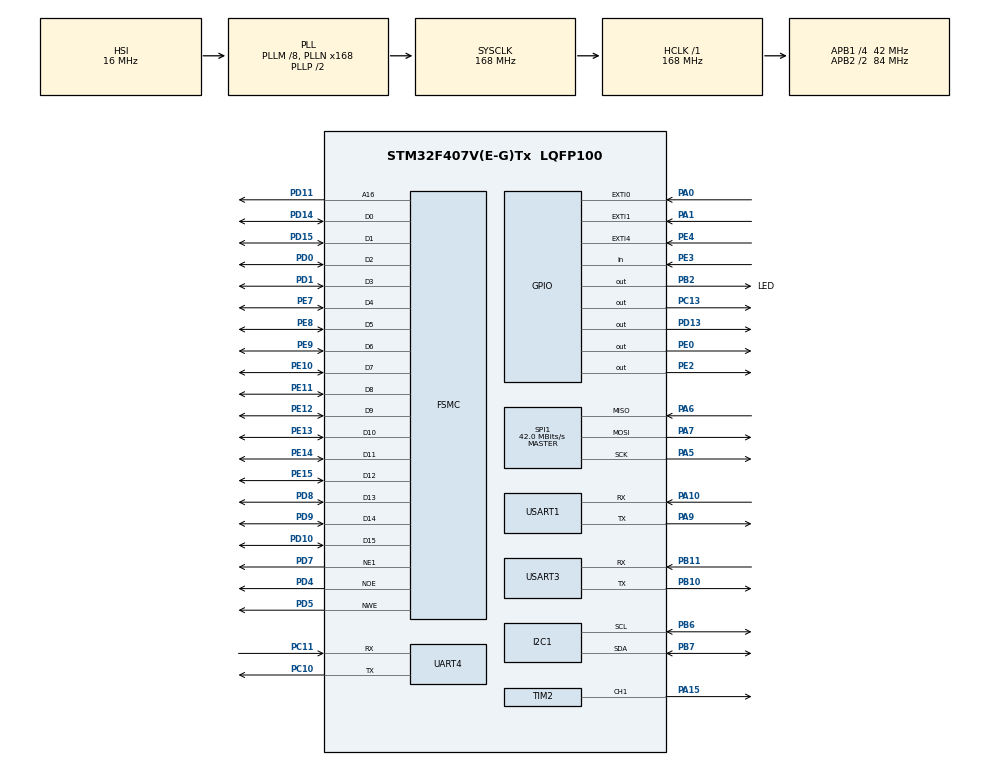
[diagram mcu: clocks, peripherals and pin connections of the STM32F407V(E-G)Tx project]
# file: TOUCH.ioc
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Dma.Request0=USART3_RX
Dma.Request1=UART4_RX
Dma.Request2=USART3_TX
Dma.Request3=UART4_TX
Dma.UART4_RX.1.Direction=DMA_PERIPH_TO_MEMORY
Dma.UART4_RX.1.FIFOMode=DMA_FIFOMODE_DISABLE
Dma.UART4_RX.1.Instance=DMA1_Stream2
Dma.UART4_RX.1.MemDataAlignment=DMA_MDATAALIGN_BYTE
Dma.UART4_RX.1.MemInc=DMA_MINC_ENABLE
Dma.UART4_RX.1.Mode=DMA_NORMAL
Dma.UART4_RX.1.PeriphDataAlignment=DMA_PDATAALIGN_BYTE
Dma.UART4_RX.1.PeriphInc=DMA_PINC_DISABLE
Dma.UART4_RX.1.Priority=DMA_PRIORITY_LOW
Dma.UART4_TX.3.Direction=DMA_MEMORY_TO_PERIPH
Dma.UART4_TX.3.FIFOMode=DMA_FIFOMODE_DISABLE
Dma.UART4_TX.3.Instance=DMA1_Stream4
Dma.UART4_TX.3.MemDataAlignment=DMA_MDATAALIGN_BYTE
Dma.UART4_TX.3.MemInc=DMA_MINC_ENABLE
Dma.UART4_TX.3.Mode=DMA_NORMAL
Dma.UART4_TX.3.PeriphDataAlignment=DMA_PDATAALIGN_BYTE
Dma.UART4_TX.3.PeriphInc=DMA_PINC_DISABLE
Dma.UART4_TX.3.Priority=DMA_PRIORITY_LOW
Dma.USART3_RX.0.Direction=DMA_PERIPH_TO_MEMORY
Dma.USART3_RX.0.FIFOMode=DMA_FIFOMODE_DISABLE
Dma.USART3_RX.0.Instance=DMA1_Stream1
Dma.USART3_RX.0.MemDataAlignment=DMA_MDATAALIGN_BYTE
Dma.USART3_RX.0.MemInc=DMA_MINC_ENABLE
Dma.USART3_RX.0.Mode=DMA_NORMAL
Dma.USART3_RX.0.PeriphDataAlignment=DMA_PDATAALIGN_BYTE
Dma.USART3_RX.0.PeriphInc=DMA_PINC_DISABLE
Dma.USART3_RX.0.Priority=DMA_PRIORITY_LOW
Dma.USART3_TX.2.Direction=DMA_MEMORY_TO_PERIPH
Dma.USART3_TX.2.FIFOMode=DMA_FIFOMODE_DISABLE
Dma.USART3_TX.2.Instance=DMA1_Stream3
Dma.USART3_TX.2.MemDataAlignment=DMA_MDATAALIGN_BYTE
Dma.USART3_TX.2.MemInc=DMA_MINC_ENABLE
Dma.USART3_TX.2.Mode=DMA_NORMAL
Dma.USART3_TX.2.PeriphDataAlignment=DMA_PDATAALIGN_BYTE
Dma.USART3_TX.2.PeriphInc=DMA_PINC_DISABLE
Dma.USART3_TX.2.Priority=DMA_PRIORITY_LOW
Mcu.Family=STM32F4
Mcu.Name=STM32F407V(E-G)Tx
Mcu.Package=LQFP100
NVIC.DMA1_Stream1_IRQn=true\:13\:0\:true\:false\:true\:false\:true\:true
NVIC.DMA1_Stream2_IRQn=true\:14\:0\:true\:false\:true\:false\:true\:true
NVIC.DMA1_Stream3_IRQn=true\:13\:0\:true\:false\:true\:false\:true\:true
NVIC.DMA1_Stream4_IRQn=true\:14\:0\:true\:false\:true\:false\:true\:true
NVIC.EXTI0_IRQn=true\:14\:0\:true\:false\:true\:true\:true\:true
NVIC.EXTI1_IRQn=true\:14\:0\:true\:false\:true\:true\:true\:true
NVIC.EXTI4_IRQn=true\:14\:0\:true\:false\:true\:true\:true\:true
NVIC.PriorityGroup=NVIC_PRIORITYGROUP_4
NVIC.UART4_IRQn=true\:14\:0\:true\:false\:true\:true\:true\:true
NVIC.USART3_IRQn=true\:13\:0\:true\:false\:true\:true\:true\:true
PA0-WKUP.GPIO_ModeDefaultEXTI=GPIO_MODE_IT_RISING
PA0-WKUP.GPIO_PuPd=GPIO_PULLUP
PA0-WKUP.Signal=GPXTI0
PA1.GPIO_ModeDefaultEXTI=GPIO_MODE_IT_FALLING
PA1.GPIO_PuPd=GPIO_PULLUP
PA1.Signal=GPXTI1
PA10.Mode=Asynchronous
PA10.Signal=USART1_RX
PA15.GPIO_ModeDefaultPP=GPIO_MODE_AF_PP
PA15.Signal=S_TIM2_CH1_ETR
PA5.Mode=Full_Duplex_Master
PA5.Signal=SPI1_SCK
PA6.Mode=Full_Duplex_Master
PA6.Signal=SPI1_MISO
PA7.Mode=Full_Duplex_Master
PA7.Signal=SPI1_MOSI
PA9.Mode=Asynchronous
PA9.Signal=USART1_TX
PB10.Mode=Asynchronous
PB10.Signal=USART3_TX
PB11.Mode=Asynchronous
PB11.Signal=USART3_RX
PB2.GPIO_Label=LED
PB2.Signal=GPIO_Output
PB6.GPIO_Pu=GPIO_PULLUP
PB6.Mode=I2C
PB6.Signal=I2C1_SCL
PB7.GPIO_Pu=GPIO_PULLUP
PB7.Mode=I2C
PB7.Signal=I2C1_SDA
PC10.Mode=Asynchronous
PC10.Signal=UART4_TX
PC11.Mode=Asynchronous
PC11.Signal=UART4_RX
PC13-ANTI_TAMP.GPIO_PuPd=GPIO_PULLUP
PC13-ANTI_TAMP.PinState=GPIO_PIN_SET
PC13-ANTI_TAMP.Signal=GPIO_Output
PD0.Mode=16b-d1
PD0.Signal=FSMC_D2
PD1.Mode=16b-d1
PD1.Signal=FSMC_D3
PD10.Mode=16b-d1
PD10.Signal=FSMC_D15
PD11.Mode=A16_1
PD11.Signal=FSMC_A16
PD13.Signal=GPIO_Output
PD14.Mode=16b-d1
PD14.Signal=FSMC_D0
PD15.Mode=16b-d1
PD15.Signal=FSMC_D1
PD4.Mode=Lcd1
PD4.Signal=FSMC_NOE
PD5.Mode=Lcd1
PD5.Signal=FSMC_NWE
PD7.Mode=NorPsramChipSelect1_1
PD7.Signal=FSMC_NE1
PD8.Mode=16b-d1
PD8.Signal=FSMC_D13
PD9.Mode=16b-d1
PD9.Signal=FSMC_D14
PE0.Signal=GPIO_Output
PE10.Mode=16b-d1
PE10.Signal=FSMC_D7
PE11.Mode=16b-d1
PE11.Signal=FSMC_D8
PE12.Mode=16b-d1
PE12.Signal=FSMC_D9
PE13.Mode=16b-d1
PE13.Signal=FSMC_D10
PE14.Mode=16b-d1
PE14.Signal=FSMC_D11
PE15.Mode=16b-d1
PE15.Signal=FSMC_D12
PE2.Signal=GPIO_Output
PE3.GPIO_PuPd=GPIO_PULLUP
PE3.Signal=GPIO_Input
PE4.GPIO_ModeDefaultEXTI=GPIO_MODE_IT_FALLING
PE4.GPIO_PuPd=GPIO_PULLUP
PE4.Signal=GPXTI4
PE7.Mode=16b-d1
PE7.Signal=FSMC_D4
PE8.Mode=16b-d1
PE8.Signal=FSMC_D5
PE9.Mode=16b-d1
PE9.Signal=FSMC_D6
PH0-OSC_IN.Mode=HSE-External-Clock-Source
PH0-OSC_IN.Signal=RCC_OSC_IN
PH1-OSC_OUT.Mode=HSE-External-Clock-Source
PH1-OSC_OUT.Signal=RCC_OSC_OUT
ProjectManager.HeapSize=0x200
ProjectManager.StackSize=0x400
ProjectManager.TargetToolchain=STM32CubeIDE
RCC.48MHZClocksFreq_Value=84000000
RCC.AHBFreq_Value=168000000
RCC.APB1CLKDivider=RCC_HCLK_DIV4
RCC.APB1Freq_Value=42000000
RCC.APB1TimFreq_Value=84000000
RCC.APB2CLKDivider=RCC_HCLK_DIV2
RCC.APB2Freq_Value=84000000
RCC.APB2TimFreq_Value=168000000
RCC.CortexFreq_Value=168000000
RCC.HCLKFreq_Value=168000000
RCC.HSE_VALUE=25000000
RCC.HSI_VALUE=16000000
RCC.LSE_VALUE=32768
RCC.PLLM=8
RCC.PLLN=168
RCC.SYSCLKFreq_VALUE=168000000
RCC.SYSCLKSource=RCC_SYSCLKSOURCE_PLLCLK
RCC.VCOOutputFreq_Value=336000000
SH.S_TIM2_CH1_ETR.0=TIM2_CH1,PWM Generation1 CH1
SPI1.CLKPolarity=SPI_POLARITY_LOW
SPI1.CalculateBaudRate=42.0 MBits/s
SPI1.Direction=SPI_DIRECTION_2LINES
SPI1.Mode=SPI_MODE_MASTER
SPI1.VirtualType=VM_MASTER
TIM2.AutoReloadPreload=TIM_AUTORELOAD_PRELOAD_ENABLE
TIM2.Channel-PWM\ Generation1\ CH1=TIM_CHANNEL_1
TIM2.Period=100
TIM2.Prescaler=167
UART4.VirtualMode=Asynchronous
USART1.VirtualMode=VM_ASYNC
USART3.VirtualMode=VM_ASYNC
VP_TIM2_VS_ClockSourceINT.Mode=Internal
board=custom

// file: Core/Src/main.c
/* USER CODE BEGIN Header */
/**
  ******************************************************************************
  * @file           : main.c
  * @brief          : Main program body
  ******************************************************************************
  * @attention
  *
  * Copyright (c) 2026 STMicroelectronics.
  * All rights reserved.
  *
  * This software is licensed under terms that can be found in the LICENSE file
  * in the root directory of this software component.
  * If no LICENSE file comes with this software, it is provided AS-IS.
  *
  ******************************************************************************
  */
/* USER CODE END Header */
#include "main.h"
#include "dma.h"
#include "i2c.h"
#include "spi.h"
#include "tim.h"
#include "usart.h"
#include "gpio.h"
#include "fsmc.h"

/* USER CODE BEGIN Includes */
#include "signals.h"
/* USER CODE END Includes */

void SystemClock_Config(void);
/* USER CODE BEGIN PFP */
/* 1. 为两个活动对象分配各自的事件队列 */
static QEvt const * app_queueSto[10];
static QEvt const * gui_queueSto[10];
static QEvt const *modbusQueueSto[10];
extern uint8_t dma_rx_buf[256];

/* 2. 极其致命的内存池！给 Q_NEW 分配 10 个 UIUpdateEvt 大小的快递盒 */
static QF_MPOOL_EL(UIUpdateEvt) sm_poolSto[10];
static QF_MPOOL_EL(MbRxEvt) sm_mbPoolSto[4];
extern void App_ctor(void);
extern void Gui_ctor(void);
extern void elab_auto_init(void);
extern void LED_Device_Init(void);
/* USER CODE END PFP */

/* USER CODE BEGIN 0 */
/* main.c 内部 */
#include "flight_recorder.h"
#include "elab_device.h"

/* USER CODE END 0 */

int main(void)
{

  /* MCU Configuration--------------------------------------------------------*/

  /* Reset of all peripherals, Initializes the Flash interface and the Systick. */
  HAL_Init();

  /* Configure the system clock */
  SystemClock_Config();

  /* Initialize all configured peripherals */
  MX_GPIO_Init();
  MX_DMA_Init();
  MX_USART1_UART_Init();
  MX_FSMC_Init();
  MX_TIM2_Init();
  MX_USART3_UART_Init();
  MX_UART4_Init();
  MX_I2C1_Init();
  MX_SPI1_Init();
  /* USER CODE BEGIN 2 */
  HAL_TIM_PWM_Start(&htim2, TIM_CHANNEL_1);

  LCD_Backlight_Init();

  ILI9341_Init();
  QF_init(); /* 初始化 QP 框架 */
 // LED_Device_Init();
  elab_auto_init();

  QF_poolInit(sm_mbPoolSto, sizeof(sm_mbPoolSto), sizeof(sm_mbPoolSto[0]));

      /* 👇 4. 挂上 DMA 空挡，开启第一帧的监听雷达！ */
      HAL_UART_Receive_DMA(&huart3, dma_rx_buf, 256);

      /* 👇 5. 开启 USART3 的 IDLE 空闲中断！(绝大多数人死在忘写这句) */
      __HAL_UART_ENABLE_IT(&huart3, UART_IT_IDLE);

#ifdef Q_SPY

  if (!QS_INIT((void *)0)) {

      Error_Handler();
  }

#endif

#ifdef Q_SPY
      QS_OBJ_DICTIONARY(sm_poolSto);
#endif
      Test_SPI_Heartbeat();
      Check_And_Print_Panic_Dump();

      /* 4. 构造对象 */
      App_ctor();
      Gui_ctor();
      Modbus_ctor();
      /* 5. 启动两个活动对象 (注意优先级不要相同) */
      QACTIVE_START(AO_App,
                    1U,               /* 优先级 1 */
                    app_queueSto, Q_DIM(app_queueSto),
                    (void *)0, 0U, (QEvt *)0);

      QACTIVE_START(AO_Gui,
                    2U,               /* 优先级 2 (GUI 往往需要高响应) */
                    gui_queueSto, Q_DIM(gui_queueSto),
                    (void *)0, 0U, (QEvt *)0);
      QACTIVE_START(AO_Modbus,
                         3U,               /* 优先级 2 (GUI 往往需要高响应) */
						 modbusQueueSto, Q_DIM(modbusQueueSto),
                         (void *)0, 0U, (QEvt *)0);

      return QF_run(); /* 把控制权交给框架 */
  /* USER CODE END 2 */

  /* Infinite loop */
  while (1)
  {

  }
}

void SystemClock_Config(void)
{
  RCC_OscInitTypeDef RCC_OscInitStruct = {0};
  RCC_ClkInitTypeDef RCC_ClkInitStruct = {0};

  /** Configure the main internal regulator output voltage
  */
  __HAL_RCC_PWR_CLK_ENABLE();
  __HAL_PWR_VOLTAGESCALING_CONFIG(PWR_REGULATOR_VOLTAGE_SCALE1);

  /** Initializes the RCC Oscillators according to the specified parameters
  * in the RCC_OscInitTypeDef structure.
  */
  RCC_OscInitStruct.OscillatorType = RCC_OSCILLATORTYPE_HSI;
  RCC_OscInitStruct.HSIState = RCC_HSI_ON;
  RCC_OscInitStruct.HSICalibrationValue = RCC_HSICALIBRATION_DEFAULT;
  RCC_OscInitStruct.PLL.PLLState = RCC_PLL_ON;
  RCC_OscInitStruct.PLL.PLLSource = RCC_PLLSOURCE_HSI;
  RCC_OscInitStruct.PLL.PLLM = 8;
  RCC_OscInitStruct.PLL.PLLN = 168;
  RCC_OscInitStruct.PLL.PLLP = RCC_PLLP_DIV2;
  RCC_OscInitStruct.PLL.PLLQ = 4;
  if (HAL_RCC_OscConfig(&RCC_OscInitStruct) != HAL_OK)
  {
    Error_Handler();
  }

  /** Initializes the CPU, AHB and APB buses clocks
  */
  RCC_ClkInitStruct.ClockType = RCC_CLOCKTYPE_HCLK|RCC_CLOCKTYPE_SYSCLK
                              |RCC_CLOCKTYPE_PCLK1|RCC_CLOCKTYPE_PCLK2;
  RCC_ClkInitStruct.SYSCLKSource = RCC_SYSCLKSOURCE_PLLCLK;
  RCC_ClkInitStruct.AHBCLKDivider = RCC_SYSCLK_DIV1;
  RCC_ClkInitStruct.APB1CLKDivider = RCC_HCLK_DIV4;
  RCC_ClkInitStruct.APB2CLKDivider = RCC_HCLK_DIV2;

  if (HAL_RCC_ClockConfig(&RCC_ClkInitStruct, FLASH_LATENCY_5) != HAL_OK)
  {
    Error_Handler();
  }
}

/* USER CODE BEGIN 4 */
/* 在 main.c 内部临时添加的心跳探针 */

extern SPI_HandleTypeDef hspi1; /* 引用您的 SPI 句柄 */

void Test_SPI_Heartbeat(void) {
    uint8_t cmd[4] = {0x9F, 0x00, 0x00, 0x00}; /* 0x9F 是读取 JEDEC ID 的标准指令 */
    uint8_t id_buf[3] = {0};

    /* 暴力读取 ID */

    HAL_GPIO_WritePin(GPIOC, GPIO_PIN_13, GPIO_PIN_RESET); /* 假设 PA4 是 CS 引脚，请根据您的实际硬件修改！！！ */
    HAL_SPI_Transmit(&hspi1, &cmd[0], 1, 100);
    HAL_SPI_Receive(&hspi1, id_buf, 3, 100);

    HAL_GPIO_WritePin(GPIOC, GPIO_PIN_13, GPIO_PIN_SET);

    /* 打印硬件心跳 */
    QS_BEGIN(QS_USER0, 0);
    QS_STR("\r\n[HARDWARE PROBE] W25Q Flash ID: ");
    QS_U32_HEX(2, id_buf[0]); QS_STR(" ");
    QS_U32_HEX(2, id_buf[1]); QS_STR(" ");
    QS_U32_HEX(2, id_buf[2]);
    QS_STR("\r\n");
    QS_END();
}
/* USER CODE END 4 */

void Error_Handler(void)
{
  __disable_irq();
  while (1)
  {
  }
}
